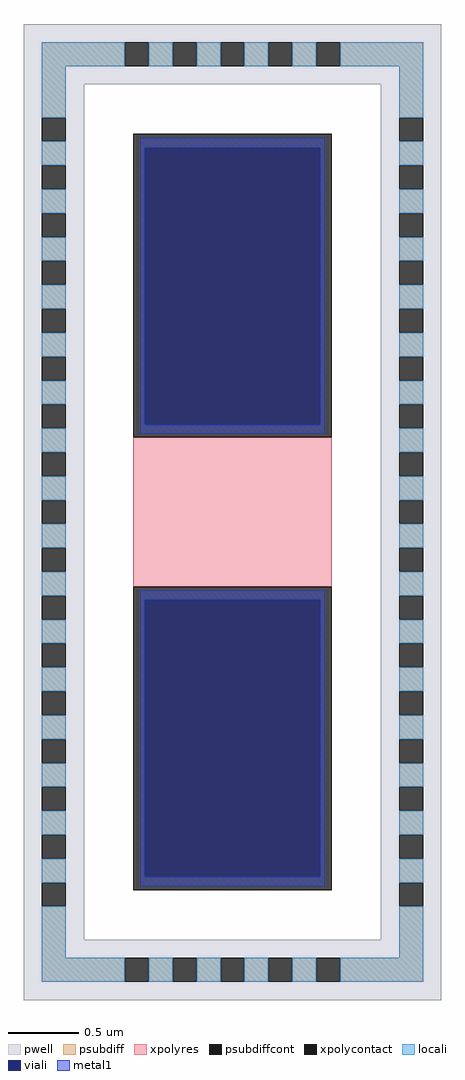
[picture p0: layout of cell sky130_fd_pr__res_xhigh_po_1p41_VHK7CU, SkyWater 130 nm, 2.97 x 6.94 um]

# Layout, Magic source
magic
tech sky130A
magscale 1 2
<< pwell >>
rect -297 608 297 694
rect -297 -608 -211 608
rect 211 -608 297 608
rect -297 -694 297 -608
<< psubdiff >>
rect -271 634 -153 668
rect -119 634 -85 668
rect -51 634 -17 668
rect 17 634 51 668
rect 85 634 119 668
rect 153 634 271 668
rect -271 561 -237 634
rect 237 561 271 634
rect -271 493 -237 527
rect -271 425 -237 459
rect -271 357 -237 391
rect -271 289 -237 323
rect -271 221 -237 255
rect -271 153 -237 187
rect -271 85 -237 119
rect -271 17 -237 51
rect -271 -51 -237 -17
rect -271 -119 -237 -85
rect -271 -187 -237 -153
rect -271 -255 -237 -221
rect -271 -323 -237 -289
rect -271 -391 -237 -357
rect -271 -459 -237 -425
rect -271 -527 -237 -493
rect 237 493 271 527
rect 237 425 271 459
rect 237 357 271 391
rect 237 289 271 323
rect 237 221 271 255
rect 237 153 271 187
rect 237 85 271 119
rect 237 17 271 51
rect 237 -51 271 -17
rect 237 -119 271 -85
rect 237 -187 271 -153
rect 237 -255 271 -221
rect 237 -323 271 -289
rect 237 -391 271 -357
rect 237 -459 271 -425
rect 237 -527 271 -493
rect -271 -634 -237 -561
rect 237 -634 271 -561
rect -271 -668 -153 -634
rect -119 -668 -85 -634
rect -51 -668 -17 -634
rect 17 -668 51 -634
rect 85 -668 119 -634
rect 153 -668 271 -634
<< psubdiffcont >>
rect -153 634 -119 668
rect -85 634 -51 668
rect -17 634 17 668
rect 51 634 85 668
rect 119 634 153 668
rect -271 527 -237 561
rect -271 459 -237 493
rect -271 391 -237 425
rect -271 323 -237 357
rect -271 255 -237 289
rect -271 187 -237 221
rect -271 119 -237 153
rect -271 51 -237 85
rect -271 -17 -237 17
rect -271 -85 -237 -51
rect -271 -153 -237 -119
rect -271 -221 -237 -187
rect -271 -289 -237 -255
rect -271 -357 -237 -323
rect -271 -425 -237 -391
rect -271 -493 -237 -459
rect -271 -561 -237 -527
rect 237 527 271 561
rect 237 459 271 493
rect 237 391 271 425
rect 237 323 271 357
rect 237 255 271 289
rect 237 187 271 221
rect 237 119 271 153
rect 237 51 271 85
rect 237 -17 271 17
rect 237 -85 271 -51
rect 237 -153 271 -119
rect 237 -221 271 -187
rect 237 -289 271 -255
rect 237 -357 271 -323
rect 237 -425 271 -391
rect 237 -493 271 -459
rect 237 -561 271 -527
rect -153 -668 -119 -634
rect -85 -668 -51 -634
rect -17 -668 17 -634
rect 51 -668 85 -634
rect 119 -668 153 -634
<< xpolycontact >>
rect -141 106 141 538
rect -141 -538 141 -106
<< xpolyres >>
rect -141 -106 141 106
<< locali >>
rect -271 634 -153 668
rect -119 634 -85 668
rect -51 634 -17 668
rect 17 634 51 668
rect 85 634 119 668
rect 153 634 271 668
rect -271 561 -237 634
rect 237 561 271 634
rect -271 493 -237 527
rect -271 425 -237 459
rect -271 357 -237 391
rect -271 289 -237 323
rect -271 221 -237 255
rect -271 153 -237 187
rect -271 85 -237 119
rect 237 493 271 527
rect 237 425 271 459
rect 237 357 271 391
rect 237 289 271 323
rect 237 221 271 255
rect 237 153 271 187
rect -271 17 -237 51
rect -271 -51 -237 -17
rect -271 -119 -237 -85
rect 237 85 271 119
rect 237 17 271 51
rect 237 -51 271 -17
rect -271 -187 -237 -153
rect -271 -255 -237 -221
rect -271 -323 -237 -289
rect -271 -391 -237 -357
rect -271 -459 -237 -425
rect -271 -527 -237 -493
rect 237 -119 271 -85
rect 237 -187 271 -153
rect 237 -255 271 -221
rect 237 -323 271 -289
rect 237 -391 271 -357
rect 237 -459 271 -425
rect 237 -527 271 -493
rect -271 -634 -237 -561
rect 237 -634 271 -561
rect -271 -668 -153 -634
rect -119 -668 -85 -634
rect -51 -668 -17 -634
rect 17 -668 51 -634
rect 85 -668 119 -634
rect 153 -668 271 -634
<< viali >>
rect -125 124 125 518
rect -125 -519 125 -125
<< metal1 >>
rect -131 518 131 532
rect -131 124 -125 518
rect 125 124 131 518
rect -131 111 131 124
rect -131 -125 131 -111
rect -131 -519 -125 -125
rect 125 -519 131 -125
rect -131 -532 131 -519
<< properties >>
string FIXED_BBOX -254 -651 254 651
<< end >>
